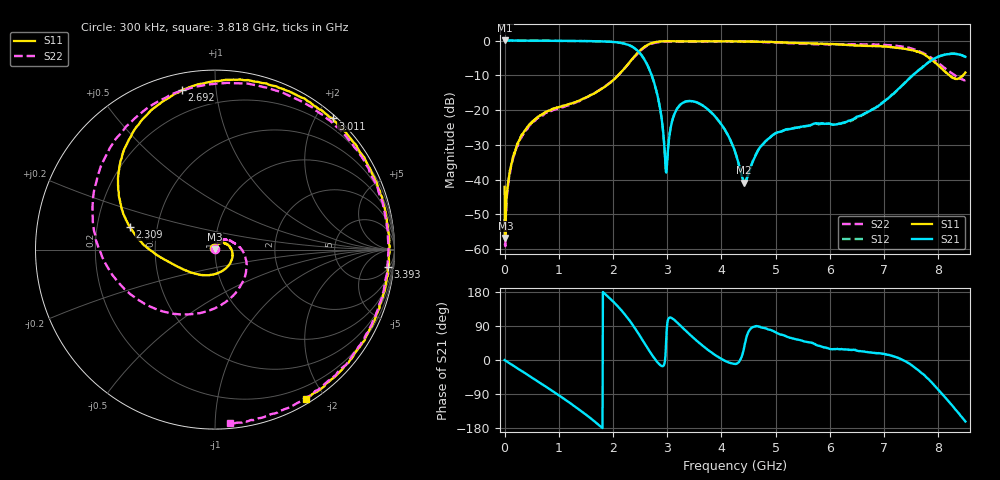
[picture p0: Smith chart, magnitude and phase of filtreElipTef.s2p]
# Hz S RI R 50
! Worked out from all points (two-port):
!   1201 points, 300 kHz to 8.5 GHz, reference 50 ohm
!   highest |S21| = 0.02 dB at 7.383 MHz (marker M1); lowest = -40.9 dB at 4.42 GHz (marker M2)
!   |S21| within 3 dB of the highest: start of sweep to 2.456 GHz
!   lowest |S11| = -56.8 dB at 14.47 MHz (marker M3), VSWR 1.00, Z = 50 + j0.142 ohm
!   |S11| at or under -10 dB: start of sweep to 2.097 GHz; 8.203 GHz to 8.459 GHz (255.4 MHz wide, 3.07 % of centre)
!   |S22| runs from -59.2 to -0.2 dB; largest |S21 - S12| = 0.008
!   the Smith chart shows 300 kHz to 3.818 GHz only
!   S11 on the Smith chart (normalised r, x): 300 kHz: 0.99, +0.01; 2.309 GHz: 0.35, +0.11; 2.692 GHz: 0.08, +0.81; 3.011 GHz: 0.06, +2.24; 3.393 GHz: 6, -18; 3.818 GHz: 0.06, -1.77
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300000  -0.00466 0.00634  0.9986 -0.00266  0.9968 -0.00641  -0.00026 0.00272
7383083  -0.000115 0.00153  1.002 -0.012  1.002 -0.0115  0.000303 0.0011
1.446617e7  -0.000248 0.00142  0.9979 -0.0265  1.002 -0.0268  0.000296 0.00106
1.348786e8  0.00365 0.0171  0.9729 -0.22  0.9755 -0.2186  0.00301 0.0164
3.544542e8  0.032 0.0362  0.8406 -0.5414  0.8399 -0.5359  0.0195 0.0422
9.140178e8  0.0975 -0.0413  0.0876 -0.9862  0.0869 -0.985  0.0898 0.0477
1.416917e9  -0.0171 -0.14  -0.6985 -0.6942  -0.6978 -0.6939  0.1385 0.0121
1.905649e9  -0.2144 -0.0922  -0.9411 0.2077  -0.9394 0.2088  0.1564 -0.1765
2.309385e9  -0.4744 0.1259  -0.1954 0.8258  -0.1941 0.8255  -0.3741 -0.3111
2.514795e9  -0.5164 0.5285  0.3198 0.5447  0.3212 0.5436  -0.6827 0.2389
2.691872e9  -0.186 0.8879  0.3297 0.1163  0.3295 0.1144  -0.2999 0.8346
2.840616e9  0.2424 0.934  0.1358 -0.0221  0.135 -0.0222  0.2959 0.901
3.01061e9  0.6551 0.7305  -0.00622 0.0246  -0.00637 0.0245  0.7941 0.551
3.393097e9  0.9645 -0.0952  0.0456 0.1266  0.0448 0.127  0.8309 -0.4976
3.818082e9  0.5044 -0.8324  0.0863 0.0307  0.0853 0.0308  0.0835 -0.9669
4.25015e9  -0.2199 -0.9468  0.025 -0.00457  0.0248 -0.00439  -0.5567 -0.8014
4.420144e9  -0.4443 -0.8542  0.00748 0.00501  0.00749 0.0053  -0.713 -0.6618
5.666767e9  -0.908 0.0604  0.0435 0.0435  0.0436 0.0432  -0.8676 0.1932
7.090466e9  -0.4384 0.6859  0.1475 0.0349  0.1476 0.0352  -0.3826 0.766
7.820024e9  0.3626 0.4441  0.3088 -0.3757  0.3059 -0.3756  0.3287 0.4999
8.160012e9  0.339 0.0281  -0.1559 -0.6166  -0.1545 -0.617  0.3535 0.1429
8.5e9  0.3457 -0.0184  -0.5555 -0.1784  -0.5548 -0.1781  0.2695 0.0164
